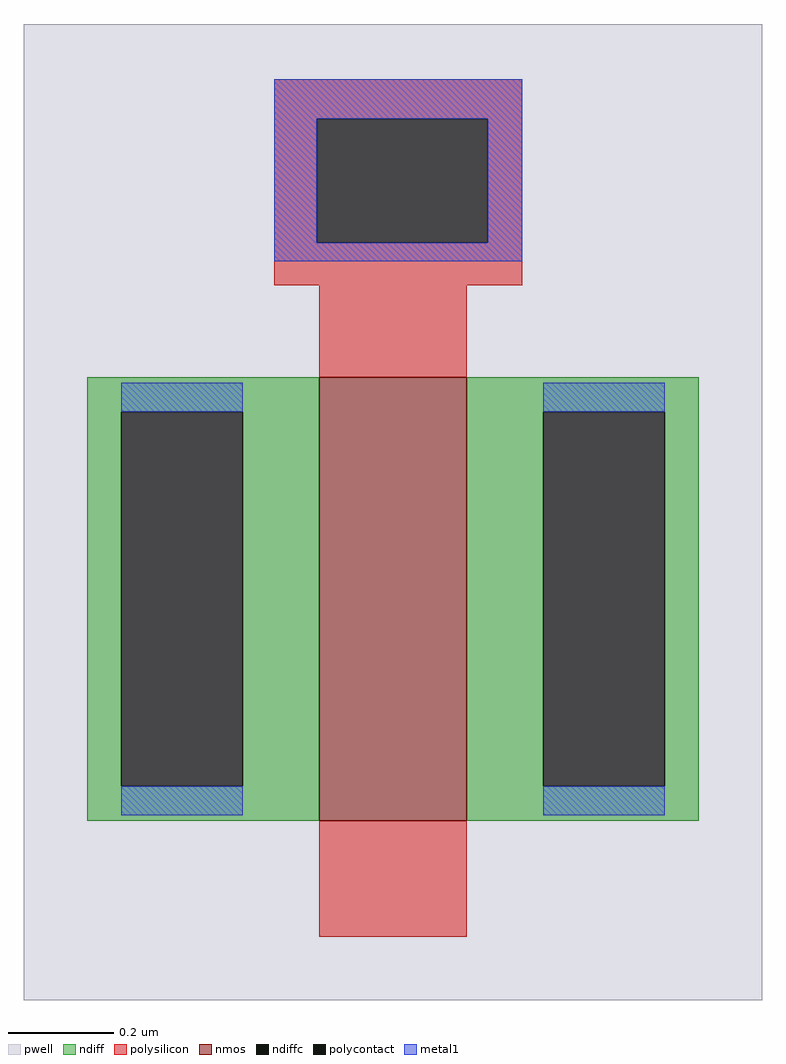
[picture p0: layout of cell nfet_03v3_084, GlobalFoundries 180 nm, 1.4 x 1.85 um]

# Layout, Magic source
magic
tech gf180mcuD
magscale 1 10
<< pwell >>
rect 0 263 280 370
<< polysilicon >>
rect 95 334 189 349
rect 95 287 111 334
rect 176 287 189 334
rect 95 271 189 287
<< polycontact >>
rect 111 287 176 334
<< metal1 >>
rect 95 334 189 349
rect 95 287 111 334
rect 176 287 189 334
rect 95 280 189 287
use nfet_03v3_N52JL5  nfet_03v3_N52JL5_0
transform 1 0 140 0 1 152
box -140 -152 140 152
<< end >>

# cell nfet_03v3_N52JL5: kit device nfet_03v3, w 0.84 l 0.280 m 1 nf 1 diffcov 100 polycov 100 guard 0 glc 0 grc 0 gtc 0 gbc 0 tbcov 100 rlcov 100 topc 0 botc 0 poverlap 0 doverlap 1 lmin 0.28 wmin 0.22 class mosfet full_metal 0 compatible {nfet_03v3 nfet_06v0 nfet_06v0_nvt}
